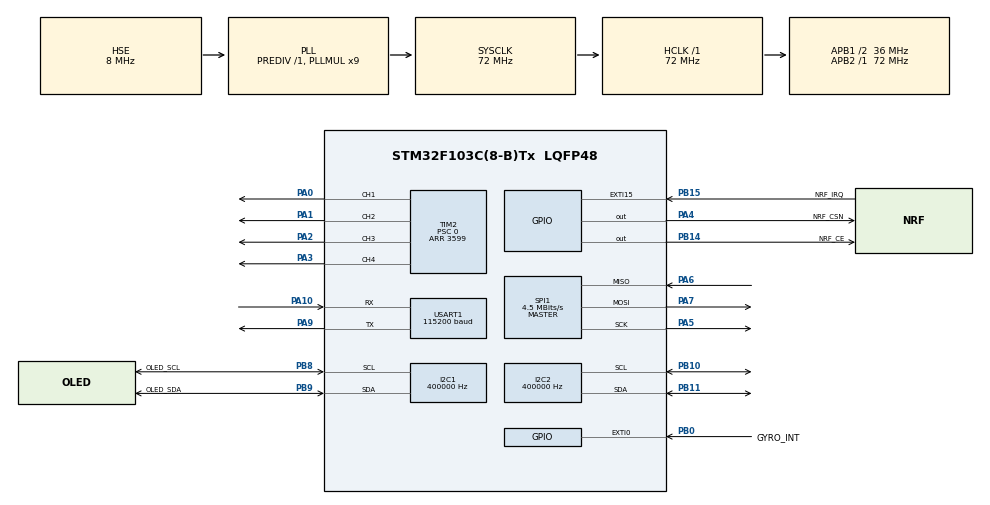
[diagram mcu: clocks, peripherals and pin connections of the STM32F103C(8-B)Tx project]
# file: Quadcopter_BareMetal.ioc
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Dma.I2C1_TX.1.Direction=DMA_MEMORY_TO_PERIPH
Dma.I2C1_TX.1.Instance=DMA1_Channel6
Dma.I2C1_TX.1.MemDataAlignment=DMA_MDATAALIGN_BYTE
Dma.I2C1_TX.1.MemInc=DMA_MINC_ENABLE
Dma.I2C1_TX.1.Mode=DMA_NORMAL
Dma.I2C1_TX.1.PeriphDataAlignment=DMA_PDATAALIGN_BYTE
Dma.I2C1_TX.1.PeriphInc=DMA_PINC_DISABLE
Dma.I2C1_TX.1.Priority=DMA_PRIORITY_LOW
Dma.I2C2_RX.0.Direction=DMA_PERIPH_TO_MEMORY
Dma.I2C2_RX.0.Instance=DMA1_Channel5
Dma.I2C2_RX.0.MemDataAlignment=DMA_MDATAALIGN_BYTE
Dma.I2C2_RX.0.MemInc=DMA_MINC_ENABLE
Dma.I2C2_RX.0.Mode=DMA_NORMAL
Dma.I2C2_RX.0.PeriphDataAlignment=DMA_PDATAALIGN_BYTE
Dma.I2C2_RX.0.PeriphInc=DMA_PINC_DISABLE
Dma.I2C2_RX.0.Priority=DMA_PRIORITY_HIGH
Dma.Request0=I2C2_RX
Dma.Request1=I2C1_TX
I2C1.AddressingMode=I2C_ADDRESSINGMODE_7BIT
I2C1.ClockSpeed=400000
I2C1.DualAddressMode=I2C_DUALADDRESS_DISABLE
I2C1.GeneralCallMode=I2C_GENERALCALL_DISABLE
I2C1.NoStretchMode=I2C_NOSTRETCH_DISABLE
I2C1.OwnAddress1=0
I2C2.AddressingMode=I2C_ADDRESSINGMODE_7BIT
I2C2.ClockSpeed=400000
I2C2.DualAddressMode=I2C_DUALADDRESS_DISABLE
I2C2.GeneralCallMode=I2C_GENERALCALL_DISABLE
I2C2.NoStretchMode=I2C_NOSTRETCH_DISABLE
I2C2.OwnAddress1=0
Mcu.Family=STM32F1
Mcu.Name=STM32F103C(8-B)Tx
Mcu.Package=LQFP48
NVIC.DMA1_Channel5_IRQn=true\:5\:0\:false\:false\:true\:false\:true\:true
NVIC.DMA1_Channel6_IRQn=true\:6\:0\:false\:false\:true\:false\:true\:true
NVIC.EXTI0_IRQn=true\:5\:0\:false\:false\:true\:false\:true\:true
NVIC.EXTI15_10_IRQn=true\:5\:0\:false\:false\:true\:false\:true\:true
NVIC.I2C1_ER_IRQn=true\:6\:0\:false\:false\:true\:false\:true\:true
NVIC.I2C1_EV_IRQn=true\:6\:0\:false\:false\:true\:false\:true\:true
NVIC.I2C2_ER_IRQn=true\:5\:0\:false\:false\:true\:false\:true\:true
NVIC.I2C2_EV_IRQn=true\:5\:0\:false\:false\:true\:false\:true\:true
NVIC.PriorityGroup=NVIC_PRIORITYGROUP_4
NVIC.TIM3_IRQn=true\:5\:0\:false\:false\:true\:false\:true\:true
NVIC.TIM4_IRQn=true\:4\:0\:false\:false\:true\:false\:true\:true
NVIC.TimeBase=TIM4_IRQn
NVIC.TimeBaseIP=TIM4
PA0-WKUP.GPIO_Speed=GPIO_SPEED_FREQ_HIGH
PA0-WKUP.Signal=S_TIM2_CH1_ETR
PA1.GPIO_Speed=GPIO_SPEED_FREQ_HIGH
PA1.Signal=S_TIM2_CH2
PA10.Mode=Asynchronous
PA10.Signal=USART1_RX
PA13.Mode=Serial_Wire
PA13.Signal=SYS_JTMS-SWDIO
PA14.Mode=Serial_Wire
PA14.Signal=SYS_JTCK-SWCLK
PA2.GPIO_Speed=GPIO_SPEED_FREQ_HIGH
PA2.Signal=S_TIM2_CH3
PA3.GPIO_Speed=GPIO_SPEED_FREQ_HIGH
PA3.Signal=S_TIM2_CH4
PA4.GPIO_Label=NRF_CSN
PA4.GPIO_ModeDefaultOutputPP=GPIO_MODE_OUTPUT_PP
PA4.GPIO_PuPd=GPIO_NOPULL
PA4.PinState=GPIO_PIN_SET
PA4.Signal=GPIO_Output
PA5.Mode=Full_Duplex_Master
PA5.Signal=SPI1_SCK
PA6.Mode=Full_Duplex_Master
PA6.Signal=SPI1_MISO
PA7.Mode=Full_Duplex_Master
PA7.Signal=SPI1_MOSI
PA9.Mode=Asynchronous
PA9.Signal=USART1_TX
PB0.GPIO_Label=GYRO_INT
PB0.GPIO_ModeDefaultEXTI=GPIO_MODE_IT_RISING
PB0.GPIO_PuPd=GPIO_NOPULL
PB0.Signal=GPXTI0
PB1.Signal=ADCx_IN9
PB10.Mode=I2C
PB10.Signal=I2C2_SCL
PB11.Mode=I2C
PB11.Signal=I2C2_SDA
PB14.GPIO_Label=NRF_CE
PB14.GPIO_ModeDefaultOutputPP=GPIO_MODE_OUTPUT_PP
PB14.GPIO_PuPd=GPIO_NOPULL
PB14.PinState=GPIO_PIN_RESET
PB14.Signal=GPIO_Output
PB15.GPIO_Label=NRF_IRQ
PB15.GPIO_ModeDefaultEXTI=GPIO_MODE_IT_FALLING
PB15.GPIO_PuPd=GPIO_PULLUP
PB15.Signal=GPXTI15
PB8.GPIO_Label=OLED_SCL
PB8.Mode=I2C
PB8.Signal=I2C1_SCL
PB9.GPIO_Label=OLED_SDA
PB9.Mode=I2C
PB9.Signal=I2C1_SDA
PD0-OSC_IN.Mode=HSE-External-Oscillator
PD0-OSC_IN.Signal=RCC_OSC_IN
PD1-OSC_OUT.Mode=HSE-External-Oscillator
PD1-OSC_OUT.Signal=RCC_OSC_OUT
ProjectManager.HeapSize=0x200
ProjectManager.StackSize=0x400
ProjectManager.TargetToolchain=CMake
RCC.ADCPresc=RCC_ADCPCLK2_DIV6
RCC.AHBFreq_Value=72000000
RCC.APB1CLKDivider=RCC_HCLK_DIV2
RCC.APB1Freq_Value=36000000
RCC.APB1TimFreq_Value=72000000
RCC.APB2Freq_Value=72000000
RCC.APB2TimFreq_Value=72000000
RCC.HCLKFreq_Value=72000000
RCC.HSE_VALUE=8000000
RCC.PLLMUL=RCC_PLL_MUL9
RCC.PLLSourceVirtual=RCC_PLLSOURCE_HSE
RCC.SYSCLKFreq_VALUE=72000000
RCC.SYSCLKSource=RCC_SYSCLKSOURCE_PLLCLK
RCC.USBFreq_Value=72000000
SH.ADCx_IN9.0=ADC1_IN9
SH.S_TIM2_CH1_ETR.0=TIM2_CH1,PWM Generation1 CH1
SH.S_TIM2_CH2.0=TIM2_CH2,PWM Generation2 CH2
SH.S_TIM2_CH3.0=TIM2_CH3,PWM Generation3 CH3
SH.S_TIM2_CH4.0=TIM2_CH4,PWM Generation4 CH4
SPI1.BaudRatePrescaler=SPI_BAUDRATEPRESCALER_16
SPI1.CLKPhase=SPI_PHASE_1EDGE
SPI1.CLKPolarity=SPI_POLARITY_LOW
SPI1.CalculateBaudRate=4.5 MBits/s
SPI1.DataSize=SPI_DATASIZE_8BIT
SPI1.Direction=SPI_DIRECTION_2LINES
SPI1.FirstBit=SPI_FIRSTBIT_MSB
SPI1.Mode=SPI_MODE_MASTER
SPI1.NSS=SPI_NSS_SOFT
SPI1.VirtualNSS=VM_NSSHARD
SPI1.VirtualType=VM_MASTER
TIM2.AutoReloadPreload=TIM_AUTORELOAD_PRELOAD_ENABLE
TIM2.Channel-PWM\ Generation1\ CH1=TIM_CHANNEL_1
TIM2.Channel-PWM\ Generation2\ CH2=TIM_CHANNEL_2
TIM2.Channel-PWM\ Generation3\ CH3=TIM_CHANNEL_3
TIM2.Channel-PWM\ Generation4\ CH4=TIM_CHANNEL_4
TIM2.Period=3599
TIM2.Prescaler=0
TIM3.Period=999
TIM3.Prescaler=71
USART1.BaudRate=115200
USART1.VirtualMode=VM_ASYNC
VP_SYS_VS_tim4.Mode=TIM4
VP_TIM2_VS_ClockSourceINT.Mode=Internal
VP_TIM3_VS_ClockSourceINT.Mode=Internal
board=custom

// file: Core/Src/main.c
/* USER CODE BEGIN Header */
/**
  ******************************************************************************
  * @file           : main.c
  * @brief          : Main program body
  ******************************************************************************
  * @attention
  *
  * Copyright (c) 2026 STMicroelectronics.
  * All rights reserved.
  *
  * This software is licensed under terms that can be found in the LICENSE file
  * in the root directory of this software component.
  * If no LICENSE file comes with this software, it is provided AS-IS.
  *
  ******************************************************************************
  */
/* USER CODE END Header */
#include "main.h"
#include "dma.h"
#include "i2c.h"
#include "spi.h"
#include "tim.h"
#include "usart.h"
#include "gpio.h"

/* USER CODE BEGIN Includes */
#include "baremetal.h"
#include "mpu6050.h"
#include "OLED.h"
#include "remote_task.h"
#include "motor.h"
#include "watchdog.h"

/* USER CODE END Includes */

void SystemClock_Config(void);

int main(void)
{

  /* MCU Configuration--------------------------------------------------------*/

  /* Reset of all peripherals, Initializes the Flash interface and the Systick. */
  HAL_Init();

  /* Configure the system clock */
  SystemClock_Config();

  /* Initialize all configured peripherals */
  MX_GPIO_Init();
  MX_DMA_Init();
  MX_I2C1_Init();
  MX_I2C2_Init();
  MX_SPI1_Init();
  MX_TIM2_Init();
  MX_TIM3_Init();
  MX_USART1_UART_Init();
  /* USER CODE BEGIN 2 */
  static NRF24_RX_Handle_t nrf_config = {
    .hspi = &hspi1,
    .csn_gpio_port = NRF_CSN_GPIO_Port, .csn_pin = NRF_CSN_Pin,
    .ce_gpio_port  = NRF_CE_GPIO_Port,  .ce_pin  = NRF_CE_Pin,
  };

  if (BareMetal_Init(&nrf_config) != HAL_OK)
  {
    Error_Handler();
  }

  /* Started last: everything above blocks for tens of milliseconds. From here
   * on a main loop that stops turning for WATCHDOG_TIMEOUT_MS resets the chip. */
  Watchdog_Start();

  /* USER CODE END 2 */

  /* Infinite loop */
  while (1)
  {

    /* USER CODE BEGIN 3 */
    BareMetal_Update();
    Watchdog_Refresh();
  }
  /* USER CODE END 3 */
}

void SystemClock_Config(void)
{
  RCC_OscInitTypeDef RCC_OscInitStruct = {0};
  RCC_ClkInitTypeDef RCC_ClkInitStruct = {0};

  /** Initializes the RCC Oscillators according to the specified parameters
  * in the RCC_OscInitTypeDef structure.
  */
  RCC_OscInitStruct.OscillatorType = RCC_OSCILLATORTYPE_HSE;
  RCC_OscInitStruct.HSEState = RCC_HSE_ON;
  RCC_OscInitStruct.HSEPredivValue = RCC_HSE_PREDIV_DIV1;
  RCC_OscInitStruct.HSIState = RCC_HSI_ON;
  RCC_OscInitStruct.PLL.PLLState = RCC_PLL_ON;
  RCC_OscInitStruct.PLL.PLLSource = RCC_PLLSOURCE_HSE;
  RCC_OscInitStruct.PLL.PLLMUL = RCC_PLL_MUL9;
  if (HAL_RCC_OscConfig(&RCC_OscInitStruct) != HAL_OK)
  {
    Error_Handler();
  }

  /** Initializes the CPU, AHB and APB buses clocks
  */
  RCC_ClkInitStruct.ClockType = RCC_CLOCKTYPE_HCLK|RCC_CLOCKTYPE_SYSCLK
                              |RCC_CLOCKTYPE_PCLK1|RCC_CLOCKTYPE_PCLK2;
  RCC_ClkInitStruct.SYSCLKSource = RCC_SYSCLKSOURCE_PLLCLK;
  RCC_ClkInitStruct.AHBCLKDivider = RCC_SYSCLK_DIV1;
  RCC_ClkInitStruct.APB1CLKDivider = RCC_HCLK_DIV2;
  RCC_ClkInitStruct.APB2CLKDivider = RCC_HCLK_DIV1;

  if (HAL_RCC_ClockConfig(&RCC_ClkInitStruct, FLASH_LATENCY_2) != HAL_OK)
  {
    Error_Handler();
  }
}

/* USER CODE BEGIN 4 */

void HAL_I2C_MemRxCpltCallback(I2C_HandleTypeDef *hi2c)
{
  if (hi2c == &hi2c2)
  {
    MPU6050_DmaCompleteCallback();
  }
}

void HAL_I2C_MasterTxCpltCallback(I2C_HandleTypeDef *hi2c)
{
  if (hi2c == &hi2c1)
  {
    OLED_I2CTxCpltCallback();
  }
}

void HAL_I2C_ErrorCallback(I2C_HandleTypeDef *hi2c)
{
  if (hi2c == &hi2c1) OLED_I2CErrorCallback();
  else if (hi2c == &hi2c2) MPU6050_ErrorCallback();
}

void HAL_GPIO_EXTI_Callback(uint16_t GPIO_Pin)
{
  if (GPIO_Pin == MPU6050_INT_PIN)
  {
    ++g_imu_drdy_count;
    if (MPU6050_Ready != 0U) ++g_imu_coalesced_count;
    MPU6050_Ready = 1U;
  }
  else if (GPIO_Pin == REMOTE_NRF24_IRQ_PIN)
  {
    Remote_Ready = 1U;
  }
  else
  {
    /* No other EXTI line is in use. */
  }
}

/* USER CODE END 4 */

void HAL_TIM_PeriodElapsedCallback(TIM_HandleTypeDef *htim)
{
  if (htim->Instance == TIM4)
  {
    HAL_IncTick();
  }
}

void Error_Handler(void)
{
  /* USER CODE BEGIN Error_Handler_Debug */
  /* User can add his own implementation to report the HAL error return state */
  /* Props first: TIM2 keeps running its last duty after the CPU stops. */
  Motor_EmergencyStop();
  __disable_irq();
  while (1)
  {
  }
  /* USER CODE END Error_Handler_Debug */
}
